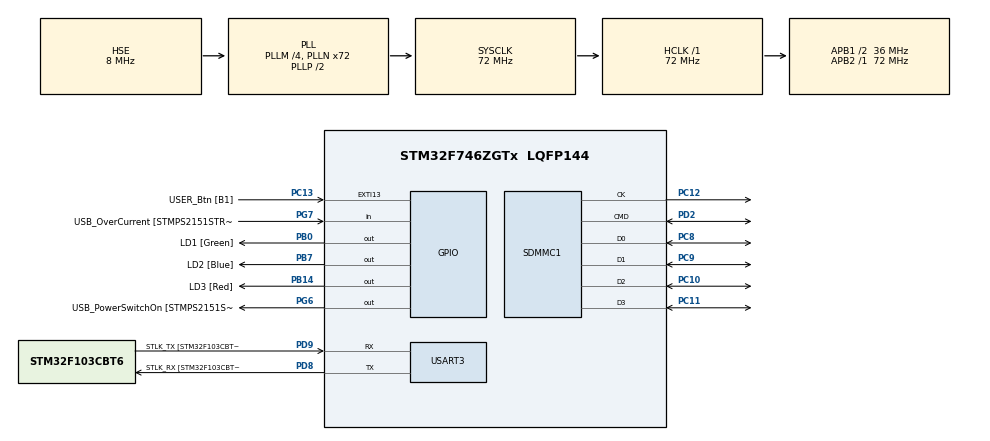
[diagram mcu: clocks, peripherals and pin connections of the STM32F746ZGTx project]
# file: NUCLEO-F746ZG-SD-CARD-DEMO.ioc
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Dma.Request0=SDMMC1_RX
Dma.Request1=SDMMC1_TX
Dma.SDMMC1_RX.0.Direction=DMA_PERIPH_TO_MEMORY
Dma.SDMMC1_RX.0.FIFOMode=DMA_FIFOMODE_ENABLE
Dma.SDMMC1_RX.0.FIFOThreshold=DMA_FIFO_THRESHOLD_FULL
Dma.SDMMC1_RX.0.Instance=DMA2_Stream3
Dma.SDMMC1_RX.0.MemBurst=DMA_MBURST_INC4
Dma.SDMMC1_RX.0.MemDataAlignment=DMA_MDATAALIGN_WORD
Dma.SDMMC1_RX.0.MemInc=DMA_MINC_ENABLE
Dma.SDMMC1_RX.0.Mode=DMA_PFCTRL
Dma.SDMMC1_RX.0.PeriphBurst=DMA_PBURST_INC4
Dma.SDMMC1_RX.0.PeriphDataAlignment=DMA_PDATAALIGN_WORD
Dma.SDMMC1_RX.0.PeriphInc=DMA_PINC_DISABLE
Dma.SDMMC1_RX.0.Priority=DMA_PRIORITY_LOW
Dma.SDMMC1_TX.1.Direction=DMA_MEMORY_TO_PERIPH
Dma.SDMMC1_TX.1.FIFOMode=DMA_FIFOMODE_ENABLE
Dma.SDMMC1_TX.1.FIFOThreshold=DMA_FIFO_THRESHOLD_FULL
Dma.SDMMC1_TX.1.Instance=DMA2_Stream6
Dma.SDMMC1_TX.1.MemBurst=DMA_MBURST_INC4
Dma.SDMMC1_TX.1.MemDataAlignment=DMA_MDATAALIGN_WORD
Dma.SDMMC1_TX.1.MemInc=DMA_MINC_ENABLE
Dma.SDMMC1_TX.1.Mode=DMA_PFCTRL
Dma.SDMMC1_TX.1.PeriphBurst=DMA_PBURST_INC4
Dma.SDMMC1_TX.1.PeriphDataAlignment=DMA_PDATAALIGN_WORD
Dma.SDMMC1_TX.1.PeriphInc=DMA_PINC_DISABLE
Dma.SDMMC1_TX.1.Priority=DMA_PRIORITY_LOW
FATFS.USE_DMA_CODE_SD=1
Mcu.Family=STM32F7
Mcu.Name=STM32F746ZGTx
Mcu.Package=LQFP144
NVIC.DMA2_Stream3_IRQn=true\:0\:0\:false\:false\:true\:false\:true\:true
NVIC.DMA2_Stream6_IRQn=true\:0\:0\:false\:false\:true\:false\:true\:true
NVIC.PriorityGroup=NVIC_PRIORITYGROUP_4
NVIC.SDMMC1_IRQn=true\:0\:0\:false\:false\:true\:true\:true\:true
PA1.GPIO_Label=RMII_REF_CLK [LAN8742A-CZ-TR_REFCLK0]
PA1.Signal=ETH_REF_CLK
PA10.GPIO_Label=USB_ID
PA10.Signal=USB_OTG_FS_ID
PA11.GPIO_Label=USB_DM
PA11.Signal=USB_OTG_FS_DM
PA12.GPIO_Label=USB_DP
PA12.Signal=USB_OTG_FS_DP
PA13.GPIO_Label=TMS
PA13.Mode=Serial_Wire
PA13.Signal=SYS_JTMS-SWDIO
PA14.GPIO_Label=TCK
PA14.Mode=Serial_Wire
PA14.Signal=SYS_JTCK-SWCLK
PA2.GPIO_Label=RMII_MDIO [LAN8742A-CZ-TR_MDIO]
PA2.Signal=ETH_MDIO
PA7.GPIO_Label=RMII_CRS_DV [LAN8742A-CZ-TR_CRS_DV]
PA7.Signal=ETH_CRS_DV
PA8.GPIO_Label=USB_SOF [TP1]
PA8.Signal=USB_OTG_FS_SOF
PA9.GPIO_Label=USB_VBUS
PA9.Signal=USB_OTG_FS_VBUS
PB0.GPIO_Label=LD1 [Green]
PB0.Signal=GPIO_Output
PB13.GPIO_Label=RMII_TXD1 [LAN8742A-CZ-TR_TXD1]
PB13.Signal=ETH_TXD1
PB14.GPIO_Label=LD3 [Red]
PB14.Signal=GPIO_Output
PB3.GPIO_Label=SW0
PB3.Signal=SYS_JTDO-SWO
PB7.GPIO_Label=LD2 [Blue]
PB7.Signal=GPIO_Output
PC1.GPIO_Label=RMII_MDC [LAN8742A-CZ-TR_MDC]
PC1.Signal=ETH_MDC
PC10.GPIO_PuPd=GPIO_NOPULL
PC10.Mode=SD_4_bits_Wide_bus
PC10.Signal=SDMMC1_D2
PC11.GPIO_PuPd=GPIO_NOPULL
PC11.Mode=SD_4_bits_Wide_bus
PC11.Signal=SDMMC1_D3
PC12.GPIO_PuPd=GPIO_NOPULL
PC12.Mode=SD_4_bits_Wide_bus
PC12.Signal=SDMMC1_CK
PC13.GPIO_Label=USER_Btn [B1]
PC13.Signal=GPXTI13
PC14/OSC32_IN.Mode=LSE-External-Oscillator
PC14/OSC32_IN.Signal=RCC_OSC32_IN
PC15/OSC32_OUT.Mode=LSE-External-Oscillator
PC15/OSC32_OUT.Signal=RCC_OSC32_OUT
PC4.GPIO_Label=RMII_RXD0 [LAN8742A-CZ-TR_RXD0]
PC4.Signal=ETH_RXD0
PC5.GPIO_Label=RMII_RXD1 [LAN8742A-CZ-TR_RXD1]
PC5.Signal=ETH_RXD1
PC8.GPIO_PuPd=GPIO_NOPULL
PC8.Mode=SD_4_bits_Wide_bus
PC8.Signal=SDMMC1_D0
PC9.GPIO_PuPd=GPIO_NOPULL
PC9.Mode=SD_4_bits_Wide_bus
PC9.Signal=SDMMC1_D1
PD2.GPIO_PuPd=GPIO_NOPULL
PD2.Mode=SD_4_bits_Wide_bus
PD2.Signal=SDMMC1_CMD
PD8.GPIO_Label=STLK_RX [STM32F103CBT6_PA3]
PD8.Mode=Asynchronous
PD8.Signal=USART3_TX
PD9.GPIO_Label=STLK_TX [STM32F103CBT6_PA2]
PD9.Mode=Asynchronous
PD9.Signal=USART3_RX
PG11.GPIO_Label=RMII_TX_EN [LAN8742A-CZ-TR_TXEN]
PG11.Signal=ETH_TX_EN
PG13.GPIO_Label=RMII_TXD0 [LAN8742A-CZ-TR_TXD0]
PG13.Signal=ETH_TXD0
PG6.GPIO_Label=USB_PowerSwitchOn [STMPS2151STR_EN]
PG6.Signal=GPIO_Output
PG7.GPIO_Label=USB_OverCurrent [STMPS2151STR_FAULT]
PG7.Signal=GPIO_Input
PH0/OSC_IN.GPIO_Label=MCO [STM32F103CBT6_PA8]
PH0/OSC_IN.Mode=HSE-External-Clock-Source
PH0/OSC_IN.Signal=RCC_OSC_IN
PH1/OSC_OUT.Mode=HSE-External-Clock-Source
PH1/OSC_OUT.Signal=RCC_OSC_OUT
ProjectManager.HeapSize=0x200
ProjectManager.StackSize=0x400
ProjectManager.TargetToolchain=STM32CubeIDE
RCC.48MHZClocksFreq_Value=24000000
RCC.AHBFreq_Value=72000000
RCC.APB1CLKDivider=RCC_HCLK_DIV2
RCC.APB1Freq_Value=36000000
RCC.APB1TimFreq_Value=72000000
RCC.APB2Freq_Value=72000000
RCC.APB2TimFreq_Value=72000000
RCC.CortexFreq_Value=72000000
RCC.EnbaleCSS=true
RCC.HCLKFreq_Value=72000000
RCC.HSE_VALUE=8000000
RCC.HSI_VALUE=16000000
RCC.PLLM=4
RCC.PLLMUL=RCC_PLL_MUL9
RCC.PLLN=72
RCC.PLLQ=3
RCC.PLLSourceVirtual=RCC_PLLSOURCE_HSE
RCC.PRESCALERUSB=RCC_USBCLKSOURCE_PLL_DIV1_5
RCC.SDMMCClockSelection=RCC_SDMMC1CLKSOURCE_CLK48
RCC.SYSCLKFreq_VALUE=72000000
RCC.SYSCLKSource=RCC_SYSCLKSOURCE_PLLCLK
RCC.SYSCLKSourceVirtual=RCC_SYSCLKSOURCE_PLLCLK
RCC.USBFreq_Value=48000000
RCC.VCOOutputFreq_Value=144000000
SDMMC1.ClockBypass=SDMMC_CLOCK_BYPASS_DISABLE
SDMMC1.ClockDiv=4
TIM2.Prescaler=7199
USART3.VirtualMode-Asynchronous=VM_ASYNC
VP_FATFS_VS_SDIO.Mode=SDIO
VP_TIM2_VS_ClockSourceINT.Mode=Internal
board=NUCLEO-F746ZG

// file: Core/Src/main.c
/* USER CODE BEGIN Header */
/**
  ******************************************************************************
  * @file           : main.c
  * @brief          : Main program body
  ******************************************************************************
  * @attention
  *
  * Copyright (c) 2022 STMicroelectronics.
  * All rights reserved.
  *
  * This software is licensed under terms that can be found in the LICENSE file
  * in the root directory of this software component.
  * If no LICENSE file comes with this software, it is provided AS-IS.
  *
  ******************************************************************************
  */
/* USER CODE END Header */
#include "main.h"
#include "dma.h"
#include "fatfs.h"
#include "sdmmc.h"
#include "tim.h"
#include "usart.h"
#include "gpio.h"

/* USER CODE BEGIN Includes */
#include <stdio.h>
/* USER CODE END Includes */

void SystemClock_Config(void);

int main(void)
{

  /* MCU Configuration--------------------------------------------------------*/

  /* Reset of all peripherals, Initializes the Flash interface and the Systick. */
  HAL_Init();

  /* Configure the system clock */
  SystemClock_Config();

  /* Initialize all configured peripherals */
  MX_GPIO_Init();
  MX_DMA_Init();
  MX_USART3_UART_Init();
  MX_SDMMC1_SD_Init();
  MX_FATFS_Init();
  MX_TIM2_Init();
  /* USER CODE BEGIN 2 */

  // The f_mount function gives work area to the FatFs module.
  FRESULT res = f_mount(&SDFatFS, SDPath, 0);

  if(res != FR_OK)
    Error_Handler();

  // The f_open function opens a file.
  res = f_open(&SDFile, "LOGFILE.CSV", FA_CREATE_ALWAYS | FA_WRITE | FA_READ);

  if(res != FR_OK)
    Error_Handler();

  // The f_lseek function moves the file read/write pointer of an open file object
  res = f_lseek(&SDFile, 0 /* start of the file */);

  if(res != FR_OK)
    Error_Handler();

  // Write CSV file header
  f_puts("Timestamp,USER button state\n", &SDFile);
  f_puts("milliseconds,boolean\n", &SDFile);

  // Start 100 us timer
  HAL_TIM_Base_Start(&htim2);

  /* USER CODE END 2 */

  /* Infinite loop */
  /* USER CODE BEGIN WHILE */
  while (1)
  {
    // Read USER button state
    GPIO_PinState USER_Btn_State = HAL_GPIO_ReadPin(USER_Btn_GPIO_Port, USER_Btn_Pin);

    // Read timer register
    uint32_t Timestamp = __HAL_TIM_GET_COUNTER(&htim2) / 10;

    // Writing to text file with f_write function
    char write_buffer[32];
    unsigned int bytes_to_write = snprintf(write_buffer, 32, "%lu,", Timestamp /* milliseconds */);
    unsigned int number_of_bytes_written = 0;
    f_write(&SDFile, write_buffer, bytes_to_write, &number_of_bytes_written);

    if(number_of_bytes_written != bytes_to_write)
      Error_Handler();

    // Writing to text file with f_printf function
    int f_print_status = f_printf(&SDFile, "%u\n", USER_Btn_State);

    if(f_print_status > 0)
      number_of_bytes_written += f_print_status;

    // The f_sync function flushes the cached information of a writing file.
    if(f_sync(&SDFile) != FR_OK)
      Error_Handler();

    // The f_lseek function moves the file read/write pointer of an open file object
    res = f_lseek(&SDFile, f_size(&SDFile) - number_of_bytes_written /* last line of the file */);

    if(res != FR_OK)
      Error_Handler();

    // Read last line with f_read function
    char read_buffer[64];
    unsigned int bytes_read;
    f_read(&SDFile, read_buffer, number_of_bytes_written, &bytes_read);

    if(bytes_read != number_of_bytes_written)
      Error_Handler();

    // Send read bytes over serial port
    HAL_UART_Transmit(&huart3, (uint8_t*)read_buffer, bytes_read, 100);

    /* USER CODE END WHILE */

    /* USER CODE BEGIN 3 */

    // File size limited to 4096 bytes
    if(f_size(&SDFile) + number_of_bytes_written >= 4096)
    {
      // The f_close function closes an open file.
      res = f_close(&SDFile);

      if(res != FR_OK)
        Error_Handler();

      while(1)
      {
        // Toggle green LED
        HAL_GPIO_TogglePin(LD2_GPIO_Port, LD2_Pin);

        // Idle for 100 millisecond
        HAL_Delay(100);
      }
    }

    // Toggle green LED
    HAL_GPIO_TogglePin(LD1_GPIO_Port, LD1_Pin);

    // Idle for 100 millisecond
    HAL_Delay(100);
  }
  /* USER CODE END 3 */
}

void SystemClock_Config(void)
{
  RCC_OscInitTypeDef RCC_OscInitStruct = {0};
  RCC_ClkInitTypeDef RCC_ClkInitStruct = {0};

  /** Configure LSE Drive Capability
  */
  HAL_PWR_EnableBkUpAccess();
  /** Configure the main internal regulator output voltage
  */
  __HAL_RCC_PWR_CLK_ENABLE();
  __HAL_PWR_VOLTAGESCALING_CONFIG(PWR_REGULATOR_VOLTAGE_SCALE3);
  /** Initializes the RCC Oscillators according to the specified parameters
  * in the RCC_OscInitTypeDef structure.
  */
  RCC_OscInitStruct.OscillatorType = RCC_OSCILLATORTYPE_HSE;
  RCC_OscInitStruct.HSEState = RCC_HSE_BYPASS;
  RCC_OscInitStruct.PLL.PLLState = RCC_PLL_ON;
  RCC_OscInitStruct.PLL.PLLSource = RCC_PLLSOURCE_HSE;
  RCC_OscInitStruct.PLL.PLLM = 4;
  RCC_OscInitStruct.PLL.PLLN = 72;
  RCC_OscInitStruct.PLL.PLLP = RCC_PLLP_DIV2;
  RCC_OscInitStruct.PLL.PLLQ = 3;
  if (HAL_RCC_OscConfig(&RCC_OscInitStruct) != HAL_OK)
  {
    Error_Handler();
  }
  /** Initializes the CPU, AHB and APB buses clocks
  */
  RCC_ClkInitStruct.ClockType = RCC_CLOCKTYPE_HCLK|RCC_CLOCKTYPE_SYSCLK
                              |RCC_CLOCKTYPE_PCLK1|RCC_CLOCKTYPE_PCLK2;
  RCC_ClkInitStruct.SYSCLKSource = RCC_SYSCLKSOURCE_PLLCLK;
  RCC_ClkInitStruct.AHBCLKDivider = RCC_SYSCLK_DIV1;
  RCC_ClkInitStruct.APB1CLKDivider = RCC_HCLK_DIV2;
  RCC_ClkInitStruct.APB2CLKDivider = RCC_HCLK_DIV1;

  if (HAL_RCC_ClockConfig(&RCC_ClkInitStruct, FLASH_LATENCY_2) != HAL_OK)
  {
    Error_Handler();
  }
  /** Enables the Clock Security System
  */
  HAL_RCC_EnableCSS();
}

void Error_Handler(void)
{
  /* USER CODE BEGIN Error_Handler_Debug */
  /* User can add his own implementation to report the HAL error return state */
  __disable_irq();
  while (1)
  {
    HAL_GPIO_TogglePin(LD3_GPIO_Port, LD3_Pin);
    for(unsigned int i = 0; i < SystemCoreClock / 50; i++);
  }
  /* USER CODE END Error_Handler_Debug */
}
